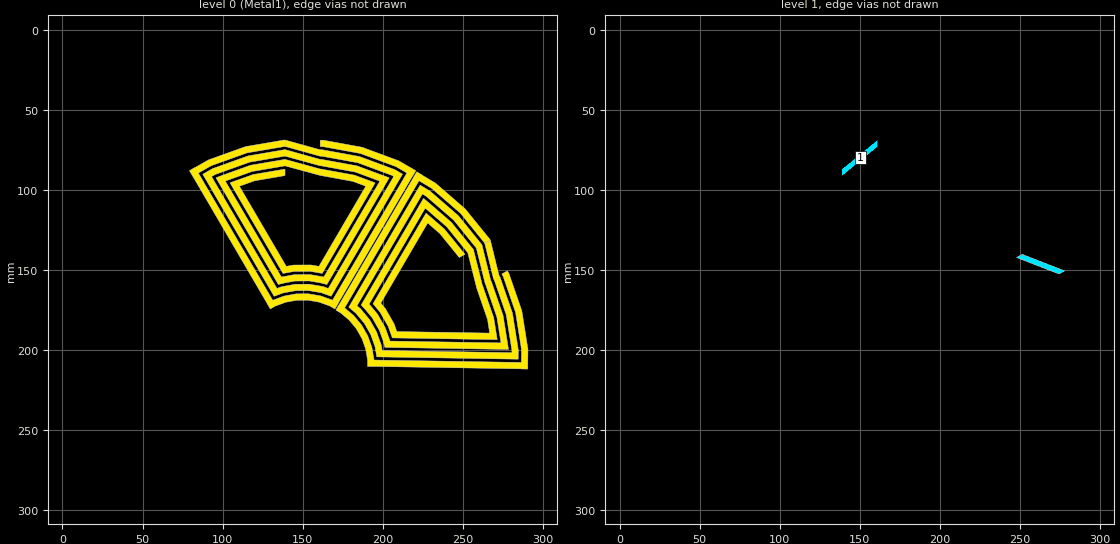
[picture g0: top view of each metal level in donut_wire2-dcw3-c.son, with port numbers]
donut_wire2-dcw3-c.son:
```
FTYP SONPROJ 18 ! Sonnet Project File
VER 17.56
HEADER
LIC Sonn.1.12345 5ebde752e8e3 LAPTOP-O1OQGKBH User FullLicense
DAT 03/03/2024 12:52:19
BUILT_BY_CREATED xgeom 17.56 09/11/2023 21:14:34
BUILT_BY_SAVED sonnet 17.56
MDATE 03/03/2024 12:52:19
HDATE 03/03/2024 12:52:19
END HEADER
DIM
ANG DEG
CAP PF
CON /OH
FREQ MHZ
IND NH
LNG MM
RES OH
END DIM
CONTROL
VARSWP
OPTIONS  -d
SPEED 2
CACHE_ABS 1
Q_ACC N
END CONTROL
GEO
TMET "Free Space" 0 FREESPACE 376.7303136 0 0 0
BMET "Free Space" 0 FREESPACE 376.7303136 0 0 0
BOX 2 300 300 600 600 20 0
      16 1 1 0 0 0 0 "Air"
      1.6 4.4 1 0.02 0 0 0 "FR4"
      16 1 1 0 0 0 0 "Air"
TECHLAY METAL Metal1 <UNSPECIFIED> -2 -65534 
0 0 -1 N 752 1 1 100 100 0 0 0 Y
END
END
LORGN 0 300 U 
EVIA1
POLY 631 1
52
TOLEVEL 1
EVIA1
POLY 622 1
19
TOLEVEL 1
POR1 GAP
POLY 739 1
2
1 50 0 0 0 150.3586789 79.8 
NUM 7
0 101 -1 N 631 1 1 100 100 0 0 0 Y
TLAYNAM Metal1 NOH
135.9918089 165.1346848
137.8046154 164.4636397
145.7235371 163.0226715
153.7723741 162.9787013
161.7065664 164.3330649
163.9702702 165.1430087
167.802104 166.5140231
169.8560197 163.0005782
210.3669071 93.70232471
212.3856303 90.24908053
208.9324581 88.23017224
207.5144 87.4011
185.5256 79.2615
162.4574 75.0639
161 75.05593753
139 68.93572887
139 72.93573693
161 79.05606771
162.0856 79.062
184.4652 83.1343
205.7976 91.0309
206.9137262 91.68343815
166.0241825 161.6295626
162.7245942 160.4489835
154.1004721 158.9768492
145.3517363 159.024643
136.7442127 160.5909127
133.9419714 161.6282161
93.11413097 91.7877804
95.4988 90.4283
116.9162 82.7652
139 78.9955494
161 85.0561168
161.5279 85.059
182.8746 88.9434
198.2404246 94.63133323
163.2682532 154.4550139
154.5925287 152.9740711
144.7939446 153.0276001
136.7227995 154.4962676
101.69805 94.58276515
118.4432 88.5914
139 85.08236821
161 91.06142256
181.284 94.7524
189.4520859 97.77597498
160.1842555 147.8418047
155.0845854 146.971293
144.236153 147.0305573
139.782217 147.8410186
110.5267156 97.79637801
119.9703 94.4175
139 91.16916764
139 87.11126329
118.9523 90.5334
108.4727879 94.28291671
104.6409401 95.65393257
106.6948666 99.16739877
135.5943151 148.603071
137.7425438 152.2778515
141.9304496 151.5157984
144.6079538 151.0285858
154.7564874 150.9731451
158.0273223 151.5314753
162.2402411 152.250619
164.3971782 148.560949
193.2611922 99.18598933
195.3110001 95.67957529
191.5018958 94.26955065
182.3444 90.8797
161.342 87.058
161 87.05613194
139 81.02446255
117.4252 84.7073
99.64413207 91.06932342
95.86121847 92.52390523
97.88004319 95.9773369
132.7716869 155.6635028
134.8215177 159.169974
138.8710336 158.1710472
145.1657455 157.0256287
154.2644307 156.9759232
161.1113184 158.1446843
165.1351843 159.1873513
167.1890967 155.6739052
202.0494844 96.04132443
204.0993438 92.5348114
200.2902892 91.12481817
183.935 85.0706
161.8997 81.061
161.5279 81.05896808
161 81.05608306
139 74.9376436
115.8982 78.8812
93.8218 86.78
91.09529418 88.33434178
87.62006081 90.31552237
89.6389071 93.76897725
130.1328453 163.0382372
132.1826829 166.5447059
135.9918089 165.1346848
END
0 101 -1 N 636 1 1 100 100 0 0 0 Y
TLAYNAM Metal1 NOH
181.90232 175.97284
183.3762 177.22354
188.51578 183.41794
192.50164 190.4107
195.21264 197.98936
195.61704 200.35934
196.30154 204.37108
200.37076 204.43784
280.63062 205.75474
284.6301 205.82036
284.69592 201.82086
284.72294 200.17844
281.03202 177.0238
273.37636 154.86184
272.66852 153.58786
267.21226 131.41386
263.72636 133.37566
269.18252 155.5497
269.70978 156.49868
277.13692 177.9991
280.71768 200.46254
280.69642 201.75524
199.68624 200.4261
199.0968 196.9716
196.15004 188.73392
191.8176 181.1331
186.2311 174.40006
183.95276 172.46674
224.79274 102.6334
227.14706 104.04482
244.32934 118.9511
258.44542 136.34768
263.95366 158.49242
264.21004 158.95388
271.29434 179.462
273.8736 195.6425
204.587 194.50566
201.62262 186.21868
196.77028 177.70576
191.5319 171.3923
226.56696 111.48482
240.00088 123.13928
253.14094 139.33294
258.7202 161.4377
265.45186 180.92484
266.82292 189.526
208.83768 188.5746
207.09518 183.70346
201.72296 174.27842
198.83224 170.79444
228.0964 120.75486
235.67256 127.3275
247.83646 142.3182
251.3728 140.328
238.55818 124.5354
230.15092 117.24176
227.0768 114.57482
225.02226 118.08792
196.11418 167.51856
193.96532 171.19296
196.68338 174.46884
198.42114 176.56326
203.44678 185.38022
204.56438 188.5045
206.00388 192.52862
210.27718 192.59874
267.4623 193.53706
271.52336 193.6037
270.884 189.59264
269.34688 179.9496
262.3768 159.77228
262.2107 159.47332
256.67728 137.34274
242.88648 120.34718
228.62148 107.97174
225.49854 105.38844
223.4791 108.8415
188.57688 168.52148
186.52642 172.0276
189.38304 175.0667
193.46846 179.9906
197.9742 187.89546
200.3137 194.43554
201.37854 198.4536
205.44774 198.52036
274.51298 199.6535
278.57416 199.72014
277.93478 195.70914
275.18944 178.4867
267.87654 157.31708
267.69596 156.99208
267.43956 156.53062
261.98176 134.35748
247.21484 116.15904
229.50396 100.79406
226.81218 99.18032
223.38122 97.12342
221.36178 100.57652
180.8558 169.83874
178.80536 173.34484
181.90232 175.97284
END
0 52 -1 N 622 1 1 100 100 0 0 0 Y
TLAYNAM Metal1 NOH
132.8314891 172.7024544
139.3953099 170.2727301
146.2813288 169.0197144
153.2803174 168.9814794
160.1796151 170.1591868
166.7695903 172.5170528
170.1894826 174.4666967
172.2084972 171.0133663
172.1435262 170.9763271
218.5746251 91.55084659
218.6445 91.5917
220.6634 88.1385
220.5933724 88.09755816
220.61375 88.0627
217.16055 86.044
217.1402693 86.07869234
210.0896 81.9565
187.1162 73.4524
163.0151 69.0669
161 69.05589347
161 73.05592267
162.6433 73.0649
186.0558 77.3252
208.3728 85.5862
215.1215371 89.53194807
168.6683013 168.9951387
168.4466156 168.868758
161.1976429 166.2751055
153.6084154 164.9796273
145.9095279 165.0216858
138.3349072 166.4000032
131.3031969 169.0029257
84.87306849 89.57941988
92.9832 84.9559
115.3892 76.9391
139 72.93573693
139 68.93572887
138.8468 68.93489209
138.5187 68.9331
114.3711 73.055
91.3062 81.3076
82.85421229 86.12595889
82.8063 86.044
79.3531 88.0627
79.37905418 88.10709747
79.3366 88.1313
81.3556 91.5847
81.39791348 91.56057743
127.8323433 170.9917559
127.7915028 171.0156336
129.8103969 174.4687578
132.8314891 172.7024544
END
0 52 -1 N 635 1 1 100 100 0 0 0 Y
TLAYNAM Metal1 NOH
173.75726 176.93032
179.0939 181.45884
183.5631 186.84526
187.02906 192.92592
189.38646 199.51606
190.56368 206.41544
190.5419 210.35198
194.5416 210.41782
194.54202 210.34302
286.53102 211.85234
286.52968 211.93328
290.52922 211.99908
290.53054 211.91796
290.57092 211.91862
290.63654 207.9192
290.59636 207.91854
290.73076 199.75236
286.87458 175.5609
278.87608 152.40664
277.89738 150.64514
274.41148 152.60696
275.2096 154.04344
282.97948 176.5362
286.72558 200.0364
286.59688 207.85292
194.56416 206.3428
194.56556 206.08762
193.27062 198.4983
190.67746 191.24916
186.86492 184.56042
181.9488 178.63536
176.23174 173.78402
222.67546 94.36846
230.68232 99.16862
248.6577 114.76298
263.72636 133.37566
267.21226 131.41386
267.13784 131.27994
266.9785 130.99312
251.54324 111.97078
233.03922 95.91786
224.6949 90.91536
224.74284 90.8334
221.28998 88.8141
221.26402 88.8585
221.2221 88.83338
219.20278 92.28658
219.24456 92.31162
172.79626 171.7347
172.75542 171.71082
170.7363 175.1638
173.75726 176.93032
END
1 5 -1 N 739 1 1 100 100 0 0 0 Y
161 73.05592267
161 69.05589347
147.9085848 79.8
152.808773 79.8
161 73.05592267
END
1 5 -1 N 740 1 1 100 100 0 0 0 Y
152.808773 79.8
147.9085848 79.8
139 87.11126329
139 91.16916764
152.808773 79.8
END
1 5 -1 N 774 1 1 100 100 0 0 0 Y
274.41148 152.60696
247.83646 142.3182
251.3728 140.328
277.89738 150.64514
274.41148 152.60696
END
END GEO
OPT
MAX 100
END OPT
VARSWP
ENABLED Y
FREQ N AY ABS_ENTRY UNK 
FREQ N AN SWEEP 13.5 13.6 0.01
FREQ Y AN STEP 13.56
END
END VARSWP
FILEOUT
TOUCH D Y sondata\$BASENAME.s1p IC 15 S RI R 50.00000
FOLDER sondata
END FILEOUT
TRANSLATOR
DXFEXPORT
UseTLs true
SepObj true
SepMat true
DivideMulti false
Circles true
CircleType manual
CircleSize 10
KeepMetals true
KeepVias true
KeepViaPads true
KeepBricks true
KeepEdgeVias true
KeepParent true
ConvertParent false
AllEdgeViasAsVia false
END
END TRANSLATOR
```
